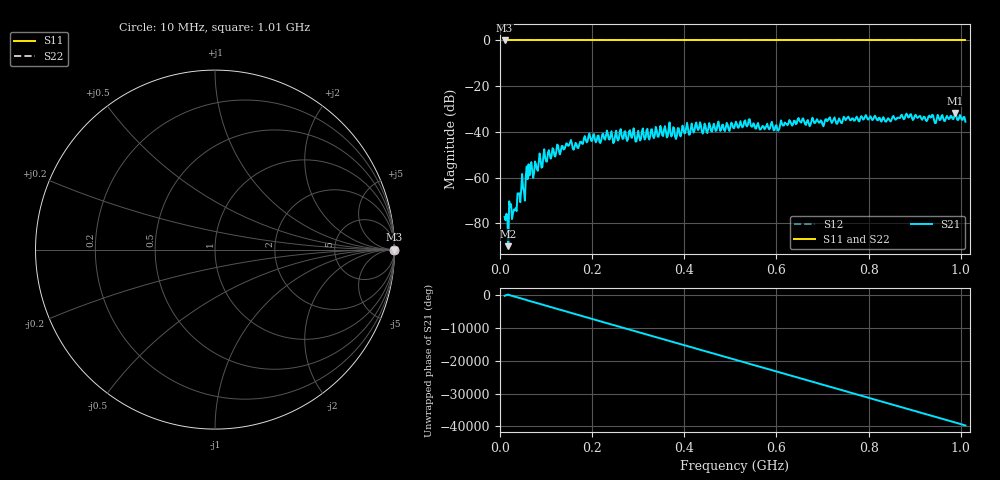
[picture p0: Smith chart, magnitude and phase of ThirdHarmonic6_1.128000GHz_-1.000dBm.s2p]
! 8/16/2025 10:56:30 AM
! C:\ANRITSUVNA\TEMP\TEMP.S2P
! CHANNEL.1
! TR.MEASUREMENT
! RAW.DATA
! RF.CORRECTION.OFF
! AVERAGING.OFF
! IF.BANDWIDTH: 5KHZ
! SWEEPTYPE:  FREQ.SWEEP(Linear)
! Reference Plane Port Info
! PORT:  PORT1  PORT2
! DISTANCE:  0  m  0  m
! TIME:  0  s  0  s
! PHASE.OFFSET:  0  deg.  0  deg.
! LOSS:  0  dB  0  dB
! REF.LOSS:  0  dB  0  dB
! REF.FREQ:  0  Hz  0  Hz
! Power Info
! POWER:  -20  dBm  -20  dBm
! EFF.POWER:  -20  dBm  -20  dBm
! SOURCE.ATTEN:  0  dB  0  dB
! TEST.ATTEN:  0  dB  0  dB
# GHZ S RI R 50.0
! FREQ.GHZ  S11RE  S11IM  S21RE  S21IM  S12RE  S12IM  S22RE  S22IM
!; PortSelection: Port_12
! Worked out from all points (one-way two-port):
!   501 points, 10 MHz to 1.01 GHz, reference 50 ohm
!   highest |S21| = -31.69 dB at 988 MHz (marker M1); lowest = -89.9 dB at 18 MHz (marker M2)
!   lowest |S11| = 0.0 dB at 10 MHz (marker M3)
!   |S11| at or under -10 dB: nowhere
!   |S22| runs from 0.0 to 0.0 dB; largest |S21 - S12| = 1
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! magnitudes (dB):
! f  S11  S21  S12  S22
! 10 MHz  0.0  -77.1  0.0  0.0
! 14 MHz  0.0  -75.7  0.0  0.0
! 18 MHz  0.0  -89.9  0.0  0.0
! 32 MHz  0.0  -74.3  0.0  0.0
! 44 MHz  0.0  -70.7  0.0  0.0
! 56 MHz  0.0  -59.4  0.0  0.0
! 60 MHz  0.0  -60.7  0.0  0.0
! 66 MHz  0.0  -55.0  0.0  0.0
! 76 MHz  0.0  -52.9  0.0  0.0
! 100 MHz  0.0  -52.9  0.0  0.0
! 150 MHz  0.0  -45.8  0.0  0.0
! 162 MHz  0.0  -46.5  0.0  0.0
! 178 MHz  0.0  -45.1  0.0  0.0
! 344 MHz  0.0  -42.1  0.0  0.0
! 510 MHz  0.0  -37.0  0.0  0.0
! 542 MHz  0.0  -34.5  0.0  0.0
! 600 MHz  0.0  -37.0  0.0  0.0
! 614 MHz  0.0  -37.2  0.0  0.0
! 678 MHz  0.0  -33.8  0.0  0.0
! 844 MHz  0.0  -34.3  0.0  0.0
! 988 MHz  0.0  -31.7  0.0  0.0
! 1.01 GHz  0.0  -35.5  0.0  0.0
